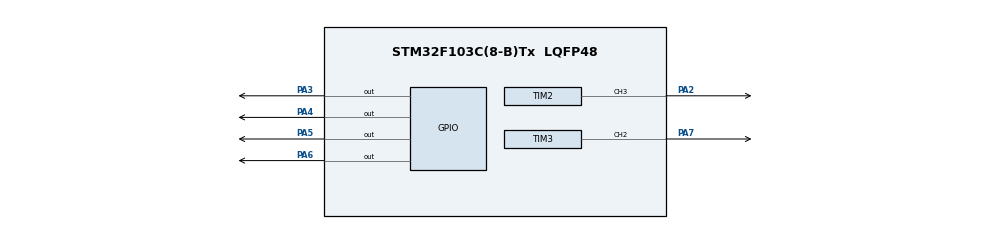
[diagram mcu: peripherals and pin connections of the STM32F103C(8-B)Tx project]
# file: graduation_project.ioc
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Mcu.Family=STM32F1
Mcu.Name=STM32F103C(8-B)Tx
Mcu.Package=LQFP48
NVIC.PriorityGroup=NVIC_PRIORITYGROUP_4
PA13.Mode=Serial_Wire
PA13.Signal=SYS_JTMS-SWDIO
PA14.Mode=Serial_Wire
PA14.Signal=SYS_JTCK-SWCLK
PA2.Signal=S_TIM2_CH3
PA3.Signal=GPIO_Output
PA4.Signal=GPIO_Output
PA5.Signal=GPIO_Output
PA6.Signal=GPIO_Output
PA7.Signal=S_TIM3_CH2
PD0-OSC_IN.Mode=HSE-External-Oscillator
PD0-OSC_IN.Signal=RCC_OSC_IN
PD1-OSC_OUT.Mode=HSE-External-Oscillator
PD1-OSC_OUT.Signal=RCC_OSC_OUT
ProjectManager.HeapSize=0x200
ProjectManager.StackSize=0x400
ProjectManager.TargetToolchain=STM32CubeIDE
RCC.AHBFreq_Value=8000000
RCC.APB1Freq_Value=8000000
RCC.APB1TimFreq_Value=8000000
RCC.APB2Freq_Value=8000000
RCC.APB2TimFreq_Value=8000000
RCC.HCLKFreq_Value=8000000
RCC.SYSCLKSource=RCC_SYSCLKSOURCE_HSE
SH.S_TIM2_CH3.0=TIM2_CH3,PWM Generation3 CH3
SH.S_TIM3_CH2.0=TIM3_CH2,PWM Generation2 CH2
TIM2.Channel-PWM\ Generation3\ CH3=TIM_CHANNEL_3
TIM2.Period=999
TIM2.Prescaler=7
TIM2.Pulse-PWM\ Generation3\ CH3=499
TIM3.Channel-PWM\ Generation2\ CH2=TIM_CHANNEL_2
TIM3.Period=999
TIM3.Prescaler=7
TIM3.Pulse-PWM\ Generation2\ CH2=999
board=custom

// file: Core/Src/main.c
/* USER CODE BEGIN Header */
/**
 ******************************************************************************
 * @file           : main.c
 * @brief          : Main program body
 ******************************************************************************
 * @attention
 *
 * Copyright (c) 2023 STMicroelectronics.
 * All rights reserved.
 *
 * This software is licensed under terms that can be found in the LICENSE file
 * in the root directory of this software component.
 * If no LICENSE file comes with this software, it is provided AS-IS.
 *
 ******************************************************************************
 */
/* USER CODE END Header */
#include "main.h"

/* USER CODE BEGIN Includes */
#include "L298N.h"
#include "CAR.h"
/* USER CODE END Includes */

TIM_HandleTypeDef htim2;
TIM_HandleTypeDef htim3;

/* USER CODE BEGIN PV */
L298N_HandleTypeDef l298l = {
		GPIOA,
		GPIO_PIN_3,
		GPIO_PIN_4,
		GPIOA,
		GPIO_PIN_5,
		GPIO_PIN_6,
		TIM2,
		TIM_CHANNEL_3,
		&htim2,
		TIM3,
		TIM_CHANNEL_2,
		&htim3

};

CAR_TYPEDEF car = {
		&l298l
};
/* USER CODE END PV */

void SystemClock_Config(void);
static void MX_GPIO_Init(void);
static void MX_TIM2_Init(void);
static void MX_TIM3_Init(void);

int main(void)
{

  /* MCU Configuration--------------------------------------------------------*/

  /* Reset of all peripherals, Initializes the Flash interface and the Systick. */
  HAL_Init();

  /* Configure the system clock */
  SystemClock_Config();

  /* Initialize all configured peripherals */
  MX_GPIO_Init();
  MX_TIM2_Init();
  MX_TIM3_Init();
  /* USER CODE BEGIN 2 */

	Car_INIT(&car);
	Car_Start(&car);

	Car_Set_Speed(&car, 0);
	Car_Set_Speed(&car, 20);
	Car_Reverse(&car);
	Car_Set_Speed(&car, 40);
	Car_Set_Speed(&car, 60);
	Car_Set_Speed(&car, 80);
	Car_Set_Speed(&car, 100);
	Car_Stop(&car);
	Car_Forward(&car);
	Car_Reverse(&car);
	Car_left(&car);
	Car_Right(&car);

  /* USER CODE END 2 */

  /* Infinite loop */
	while (1)
	{

	}
}

void SystemClock_Config(void)
{
  RCC_OscInitTypeDef RCC_OscInitStruct = {0};
  RCC_ClkInitTypeDef RCC_ClkInitStruct = {0};

  /** Initializes the RCC Oscillators according to the specified parameters
  * in the RCC_OscInitTypeDef structure.
  */
  RCC_OscInitStruct.OscillatorType = RCC_OSCILLATORTYPE_HSE;
  RCC_OscInitStruct.HSEState = RCC_HSE_ON;
  RCC_OscInitStruct.PLL.PLLState = RCC_PLL_NONE;
  if (HAL_RCC_OscConfig(&RCC_OscInitStruct) != HAL_OK)
  {
    Error_Handler();
  }

  /** Initializes the CPU, AHB and APB buses clocks
  */
  RCC_ClkInitStruct.ClockType = RCC_CLOCKTYPE_HCLK|RCC_CLOCKTYPE_SYSCLK
                              |RCC_CLOCKTYPE_PCLK1|RCC_CLOCKTYPE_PCLK2;
  RCC_ClkInitStruct.SYSCLKSource = RCC_SYSCLKSOURCE_HSE;
  RCC_ClkInitStruct.AHBCLKDivider = RCC_SYSCLK_DIV1;
  RCC_ClkInitStruct.APB1CLKDivider = RCC_HCLK_DIV1;
  RCC_ClkInitStruct.APB2CLKDivider = RCC_HCLK_DIV1;

  if (HAL_RCC_ClockConfig(&RCC_ClkInitStruct, FLASH_LATENCY_0) != HAL_OK)
  {
    Error_Handler();
  }
}

static void MX_TIM2_Init(void)
{

  TIM_MasterConfigTypeDef sMasterConfig = {0};
  TIM_OC_InitTypeDef sConfigOC = {0};

  htim2.Instance = TIM2;
  htim2.Init.Prescaler = 2000;
  htim2.Init.CounterMode = TIM_COUNTERMODE_UP;
  htim2.Init.Period = 100;
  htim2.Init.ClockDivision = TIM_CLOCKDIVISION_DIV1;
  htim2.Init.AutoReloadPreload = TIM_AUTORELOAD_PRELOAD_DISABLE;
  if (HAL_TIM_PWM_Init(&htim2) != HAL_OK)
  {
    Error_Handler();
  }
  sMasterConfig.MasterOutputTrigger = TIM_TRGO_RESET;
  sMasterConfig.MasterSlaveMode = TIM_MASTERSLAVEMODE_DISABLE;
  if (HAL_TIMEx_MasterConfigSynchronization(&htim2, &sMasterConfig) != HAL_OK)
  {
    Error_Handler();
  }
  sConfigOC.OCMode = TIM_OCMODE_PWM1;
  sConfigOC.Pulse = 100;
  sConfigOC.OCPolarity = TIM_OCPOLARITY_HIGH;
  sConfigOC.OCFastMode = TIM_OCFAST_DISABLE;
  if (HAL_TIM_PWM_ConfigChannel(&htim2, &sConfigOC, TIM_CHANNEL_3) != HAL_OK)
  {
    Error_Handler();
  }
  HAL_TIM_MspPostInit(&htim2);

}

static void MX_TIM3_Init(void)
{

  TIM_MasterConfigTypeDef sMasterConfig = {0};
  TIM_OC_InitTypeDef sConfigOC = {0};

  htim3.Instance = TIM3;
  htim3.Init.Prescaler = 2000;
  htim3.Init.CounterMode = TIM_COUNTERMODE_UP;
  htim3.Init.Period = 100;
  htim3.Init.ClockDivision = TIM_CLOCKDIVISION_DIV1;
  htim3.Init.AutoReloadPreload = TIM_AUTORELOAD_PRELOAD_DISABLE;
  if (HAL_TIM_PWM_Init(&htim3) != HAL_OK)
  {
    Error_Handler();
  }
  sMasterConfig.MasterOutputTrigger = TIM_TRGO_RESET;
  sMasterConfig.MasterSlaveMode = TIM_MASTERSLAVEMODE_DISABLE;
  if (HAL_TIMEx_MasterConfigSynchronization(&htim3, &sMasterConfig) != HAL_OK)
  {
    Error_Handler();
  }
  sConfigOC.OCMode = TIM_OCMODE_PWM1;
  sConfigOC.Pulse = 100;
  sConfigOC.OCPolarity = TIM_OCPOLARITY_HIGH;
  sConfigOC.OCFastMode = TIM_OCFAST_DISABLE;
  if (HAL_TIM_PWM_ConfigChannel(&htim3, &sConfigOC, TIM_CHANNEL_2) != HAL_OK)
  {
    Error_Handler();
  }
  HAL_TIM_MspPostInit(&htim3);

}

static void MX_GPIO_Init(void)
{
  GPIO_InitTypeDef GPIO_InitStruct = {0};

  /* GPIO Ports Clock Enable */
  __HAL_RCC_GPIOD_CLK_ENABLE();
  __HAL_RCC_GPIOA_CLK_ENABLE();

  /*Configure GPIO pin Output Level */
  HAL_GPIO_WritePin(GPIOA, GPIO_PIN_3|GPIO_PIN_4|GPIO_PIN_5|GPIO_PIN_6, GPIO_PIN_RESET);

  /*Configure GPIO pins : PA3 PA4 PA5 PA6 */
  GPIO_InitStruct.Pin = GPIO_PIN_3|GPIO_PIN_4|GPIO_PIN_5|GPIO_PIN_6;
  GPIO_InitStruct.Mode = GPIO_MODE_OUTPUT_PP;
  GPIO_InitStruct.Pull = GPIO_NOPULL;
  GPIO_InitStruct.Speed = GPIO_SPEED_FREQ_LOW;
  HAL_GPIO_Init(GPIOA, &GPIO_InitStruct);

}

void Error_Handler(void)
{
	__disable_irq();
	while (1)
	{
	}
}
